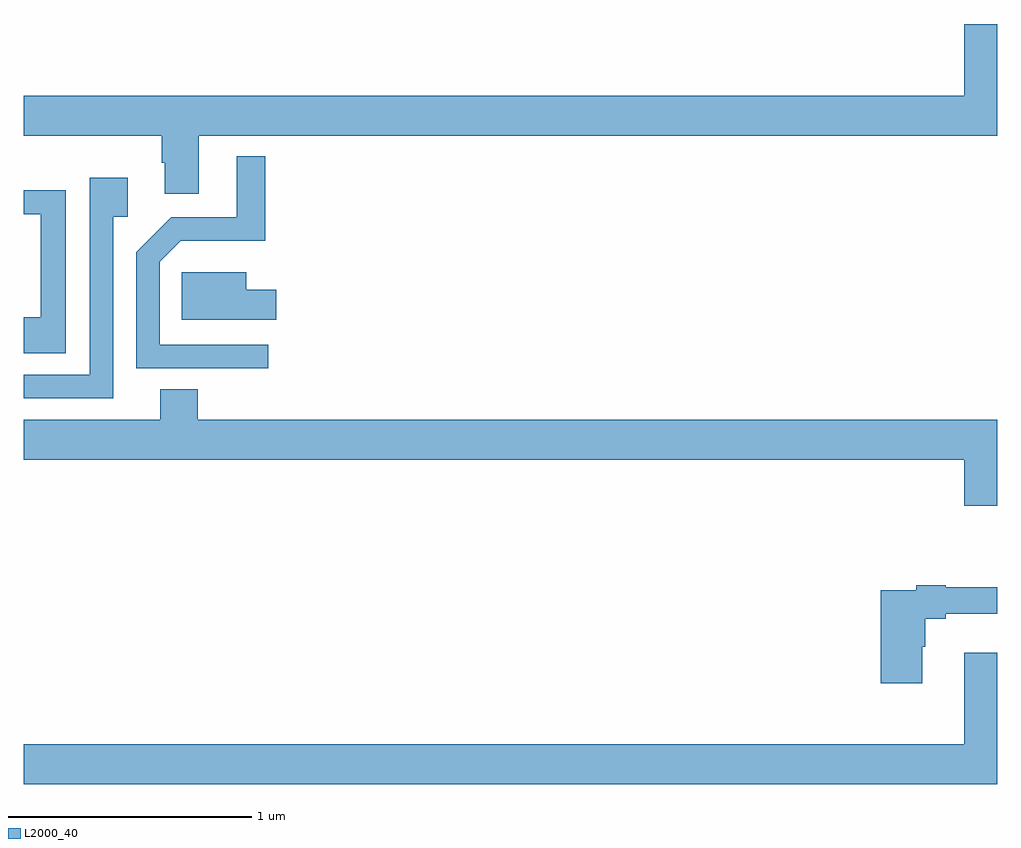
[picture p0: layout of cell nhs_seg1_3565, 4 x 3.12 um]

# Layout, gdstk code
import gdstk
lib = gdstk.Library(unit=1e-6, precision=1e-09)
def P(c, l, *ps):  # polygons
    for p in ps: c.add(gdstk.Polygon(p, *l))
L2000_40 = (2000, 40)

nhs_seg1_3565 = lib.new_cell('nhs_seg1_3565')
P(nhs_seg1_3565, L2000_40, [(305.719,543.74),(309,543.74),(309,544.199),(308.864,544.199),(308.864,543.904),(305,543.904),(305,543.74),(305.567,543.74),(305.567,543.629),(305.579,543.629),(305.579,543.501),(305.719,543.501)],
  [(306.004,542.88),(305.559,542.88),(305.559,543.222),(305.645,543.308),(305.993,543.308),(305.993,543.655),(305.876,543.655),(305.876,543.405),(305.606,543.405),(305.463,543.262),(305.463,542.784),(306.004,542.784)],
  [(305.367,543.407),(305.428,543.407),(305.428,543.568),(305.271,543.568),(305.271,542.757),(305,542.757),(305,542.661),(305.367,542.661)],
  [(305.173,543.516),(305,543.516),(305,543.417),(305.069,543.417),(305.069,542.993),(305,542.993),(305,542.846),(305.173,542.846)],
  [(306.037,543.106),(305.914,543.106),(305.914,543.178),(305.649,543.178),(305.649,542.984),(306.037,542.984)],
  [(309,542.572),(305.714,542.572),(305.714,542.699),(305.561,542.699),(305.561,542.572),(305,542.572),(305,542.408),(308.864,542.408),(308.864,542.22),(309,542.22)],
  [(308.692,541.641),(308.705,541.641),(308.705,541.756),(308.788,541.756),(308.788,541.775),(309,541.775),(309,541.885),(308.788,541.885),(308.788,541.892),(308.668,541.892),(308.668,541.872),(308.522,541.872),(308.522,541.491),(308.692,541.491)],
  [(309,541.615),(308.864,541.615),(308.864,541.24),(305,541.24),(305,541.076),(309,541.076)])

lib.write_gds('nhs_seg1_3565.gds')
